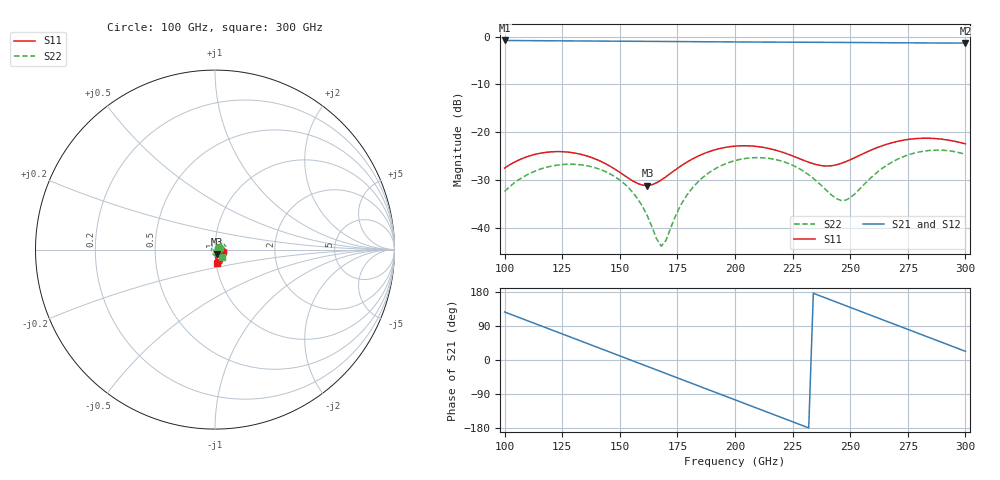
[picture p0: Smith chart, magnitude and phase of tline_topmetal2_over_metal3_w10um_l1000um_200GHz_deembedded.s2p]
! Created with skrf 2.0.1 (http://scikit-rf.org).
# GHz S DB R 50.0
!freq dBS11 angS11 dBS21 angS21 dBS12 angS12 dBS22 angS22
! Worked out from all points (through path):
!   101 points, 100 GHz to 300 GHz, reference 50 ohm
!   highest |S21| = -0.80 dB at 100 GHz (marker M1); lowest = -1.3 dB at 300 GHz (marker M2)
!   group delay of S21, straight-line fit = 6.44 ps
!   lowest |S11| = -31.1 dB at 162 GHz (marker M3), VSWR 1.06, Z = 51.2 - j2.52 ohm
!   |S11| at or under -10 dB: start of sweep to end of sweep
!   |S22| runs from -43.8 to -23.7 dB; largest |S21 - S12| = 1e-13
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100  -27.50 -21.4  -0.80 126.7  -0.80 126.7  -32.39 28.3
108  -25.43 -32.8  -0.83 108.2  -0.83 108.2  -29.36 17.3
116  -24.35 -45.9  -0.86 89.7  -0.86 89.7  -27.64 3.5
124  -24.06 -59.0  -0.89 71.1  -0.89 71.1  -26.81 -11.7
134  -24.73 -74.0  -0.91 48.0  -0.91 48.0  -26.87 -32.4
150  -28.39 -85.4  -0.96 10.9  -0.96 10.9  -30.01 -70.3
156  -30.29 -78.6  -0.98 -3.1  -0.98 -3.1  -32.80 -88.1
162  -31.15 -62.4  -0.99 -17.0  -0.99 -17.0  -37.55 -114.2
168  -29.98 -46.6  -1.01 -30.9  -1.01 -30.9  -43.83 173.7
176  -27.23 -39.7  -1.04 -49.5  -1.04 -49.5  -35.66 85.5
182  -25.47 -42.0  -1.06 -63.4  -1.06 -63.4  -31.36 62.1
192  -23.58 -51.7  -1.09 -86.6  -1.09 -86.6  -27.48 32.8
200  -22.91 -61.4  -1.11 -105.1  -1.11 -105.1  -25.93 11.2
208  -22.91 -70.9  -1.13 -123.6  -1.13 -123.6  -25.32 -10.4
218  -23.80 -80.3  -1.16 -146.8  -1.16 -146.8  -25.76 -38.6
234  -26.59 -78.1  -1.19 176.1  -1.19 176.1  -29.65 -94.3
244  -26.82 -62.3  -1.21 152.8  -1.21 152.8  -33.88 -156.9
248  -26.18 -56.9  -1.22 143.5  -1.22 143.5  -34.21 166.6
258  -23.97 -52.7  -1.25 120.3  -1.25 120.3  -29.97 96.0
268  -22.21 -57.8  -1.28 97.1  -1.28 97.1  -26.29 55.1
284  -21.26 -72.4  -1.32 60.0  -1.32 60.0  -23.83 3.4
300  -22.42 -82.9  -1.35 22.9  -1.35 22.9  -24.62 -48.2
